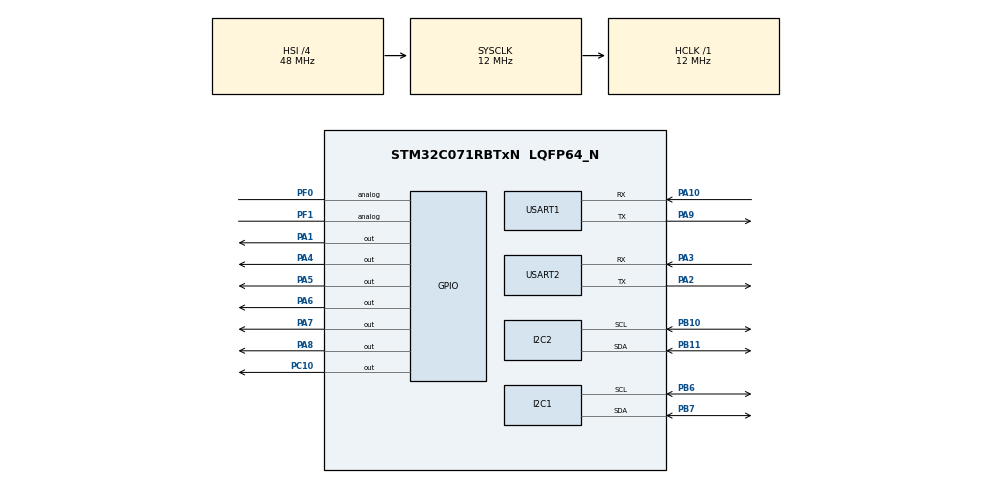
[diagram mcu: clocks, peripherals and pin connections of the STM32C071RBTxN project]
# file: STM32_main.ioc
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I2C1.Timing=0x00402D41
I2C2.Timing=0x00402D41
Mcu.Family=STM32C0
Mcu.Name=STM32C071RBTxN
Mcu.Package=LQFP64_N
NVIC.I2C2_IRQn=true\:0\:0\:false\:false\:true\:true\:true\:true
NVIC.USART1_IRQn=true\:0\:0\:false\:false\:true\:true\:true\:true
NVIC.USART2_IRQn=true\:0\:0\:false\:false\:true\:true\:true\:true
PA1.Signal=GPIO_Output
PA10.Mode=Asynchronous
PA10.Signal=USART1_RX
PA2.Mode=Asynchronous
PA2.Signal=USART2_TX
PA3.Mode=Asynchronous
PA3.Signal=USART2_RX
PA4.Signal=GPIO_Output
PA5.Signal=GPIO_Output
PA6.Signal=GPIO_Output
PA7.Signal=GPIO_Output
PA8.Signal=GPIO_Output
PA9.Mode=Asynchronous
PA9.Signal=USART1_TX
PB10.Mode=I2C
PB10.Signal=I2C2_SCL
PB11.Mode=I2C
PB11.Signal=I2C2_SDA
PB6.Mode=I2C
PB6.Signal=I2C1_SCL
PB7.Mode=I2C
PB7.Signal=I2C1_SDA
PC10.PinState=GPIO_PIN_SET
PC10.Signal=GPIO_Output
PF0-OSC_IN(PF0).Signal=GPIO_Analog
PF1-OSC_OUT(PF1).Signal=GPIO_Analog
ProjectManager.HeapSize=0x200
ProjectManager.StackSize=0x400
ProjectManager.TargetToolchain=STM32CubeIDE
RCC.ADCFreq_Value=12000000
RCC.AHBFreq_Value=12000000
RCC.CortexFreq_Value=12000000
RCC.EXTERNAL_CLOCK_VALUE=12288000
RCC.HCLKFreq_Value=12000000
RCC.HSE_VALUE=8000000
RCC.HSI48_VALUE=48000000
RCC.HSI_VALUE=48000000
RCC.LSE_VALUE=32768
RCC.SYSCLKFreq_VALUE=12000000
USART1.VirtualMode-Asynchronous=VM_ASYNC
USART2.VirtualMode-Asynchronous=VM_ASYNC
board=custom

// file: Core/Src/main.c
/* USER CODE BEGIN Header */
/**
  ******************************************************************************
  * @file           : main.c
  * @brief          : Main program body
  ******************************************************************************
  * @attention
  *
  * Copyright (c) 2026 STMicroelectronics.
  * All rights reserved.
  *
  * This software is licensed under terms that can be found in the LICENSE file
  * in the root directory of this software component.
  * If no LICENSE file comes with this software, it is provided AS-IS.
  *
  ******************************************************************************
  */
/* USER CODE END Header */
#include "main.h"

/* USER CODE BEGIN Includes */
#include "test_utils.h"
#include <string.h>
#include <stdio.h>
#include <stdlib.h>
#include <ctype.h>
#include <stdarg.h>
/* USER CODE END Includes */

I2C_HandleTypeDef hi2c1;
I2C_HandleTypeDef hi2c2;

UART_HandleTypeDef huart1;
UART_HandleTypeDef huart2;

/* USER CODE BEGIN PV */
static uint8_t rx_ch;
static char line_buf[LINE_BUF_SIZE];
static uint32_t line_len = 0;

static ParsedState g_state;
static volatile uint8_t g_run_connectivity_test = 0;

/* USER CODE END PV */

void SystemClock_Config(void);
static void MX_GPIO_Init(void);
static void MX_I2C1_Init(void);
static void MX_I2C2_Init(void);
static void MX_USART1_UART_Init(void);
static void MX_USART2_UART_Init(void);

/* USER CODE BEGIN 0 */
static void uart_print(const char *s)
{
  HAL_UART_Transmit(&huart1, (uint8_t*)s, (uint16_t)strlen(s), HAL_MAX_DELAY);
}

static void uart_printf(const char *fmt, ...)
{
  char out[256];
  va_list args;
  va_start(args, fmt);
  vsnprintf(out, sizeof(out), fmt, args);
  va_end(args);
  uart_print(out);
}

// Trim whitespace in-place (leading + trailing)
static void trim(char *s)
{
  // leading
  char *p = s;
  while (*p && isspace((unsigned char)*p)) p++;
  if (p != s) memmove(s, p, strlen(p) + 1);

  // trailing
  size_t n = strlen(s);
  while (n > 0 && isspace((unsigned char)s[n-1])) {
    s[n-1] = '\0';
    n--;
  }
}

static int parse_pin_list(const char *csv, uint8_t *arr, uint8_t *count_out)
{
  // csv like "1,2,3"
  char tmp[LINE_BUF_SIZE];
  strncpy(tmp, csv, sizeof(tmp)-1);
  tmp[sizeof(tmp)-1] = '\0';

  uint8_t count = 0;
  char *save = NULL;
  char *tok = strtok_r(tmp, ",", &save);

  while (tok)
  {
    trim(tok);
    if (*tok == '\0') return -2;

    char *endp = NULL;
    long v = strtol(tok, &endp, 10);
    if (endp == tok) return -2;          // not a number
    if (v < 1 || v > 20) return -3;      // out of allowed pin range
    if (count >= MAX_PINS) return -4;    // too many pins

    arr[count++] = (uint8_t)v;
    tok = strtok_r(NULL, ",", &save);
  }

  *count_out = count;
  return 0;
}

static int parse_vin_limits_mv(const char *csv, int32_t *low_mv, int32_t *high_mv)
{
  char tmp[LINE_BUF_SIZE];
  strncpy(tmp, csv, sizeof(tmp)-1);
  tmp[sizeof(tmp)-1] = '\0';

  char *save = NULL;
  char *a = strtok_r(tmp, ",", &save);
  char *b = strtok_r(NULL, ",", &save);
  if (!a || !b) return -2;

  trim(a); trim(b);
  if (*a == '\0' || *b == '\0') return -2;

  double lo = strtod(a, NULL);
  double hi = strtod(b, NULL);

  *low_mv  = (int32_t)(lo * 1000.0 + (lo >= 0 ? 0.5 : -0.5));
  *high_mv = (int32_t)(hi * 1000.0 + (hi >= 0 ? 0.5 : -0.5));
  return 0;
}

static int parse_prm(const char *csv,
                     uint8_t *vcc_pin_out,
                     uint8_t *gnd_pin_out,
                     int32_t *vcc_mv_out)
{
  // Expected format: "VCCpin,GNDpin,VCCvoltage"
  // Example: "14,7,3.30"
  char tmp[LINE_BUF_SIZE];
  strncpy(tmp, csv, sizeof(tmp)-1);
  tmp[sizeof(tmp)-1] = '\0';

  char *save = NULL;
  char *a = strtok_r(tmp, ",", &save);
  char *b = strtok_r(NULL, ",", &save);
  char *c = strtok_r(NULL, ",", &save);

  if (!a || !b || !c) return -2;

  trim(a); trim(b); trim(c);
  if (*a == '\0' || *b == '\0' || *c == '\0') return -2;

  char *endp1 = NULL;
  char *endp2 = NULL;
  long vcc = strtol(a, &endp1, 10);
  long gnd = strtol(b, &endp2, 10);
  if (endp1 == a || endp2 == b) return -2;

  // If you want PRM limited to DUT pins: use 1..20
  if (vcc < 1 || vcc > 20) return -3;
  if (gnd < 1 || gnd > 20) return -3;

  double v = strtod(c, NULL);
  int32_t mv = (int32_t)(v * 1000.0 + (v >= 0 ? 0.5 : -0.5));

  *vcc_pin_out = (uint8_t)vcc;
  *gnd_pin_out = (uint8_t)gnd;
  *vcc_mv_out  = mv;
  return 0;
}

static void normalize_vip_bin_lengths(ParsedState *st)
{
  size_t max_len = 0;

  if (st == NULL) return;

  // Find longest binary payload length (excluding "0b")
  for (uint8_t i = 0; i < st->n_vip; i++)
  {
    if (st->vip_kind[i] == VIP_KIND_BIN)
    {
      size_t len = strlen(st->vip_bin[i]);
      if (len >= 2) {
        len -= 2; // exclude "0b"
        if (len > max_len) {
          max_len = len;
        }
      }
    }
  }

  if (max_len == 0) {
    return;
  }

  // Right-pad shorter binary strings with '0'
  for (uint8_t i = 0; i < st->n_vip; i++)
  {
    if (st->vip_kind[i] == VIP_KIND_BIN)
    {
      char padded[VIP_BIN_MAX];
      const char *src = st->vip_bin[i] + 2;  // skip "0b"
      size_t cur_len = strlen(src);

      if (cur_len >= max_len) {
        continue;
      }

      size_t out_idx = 0;
      padded[out_idx++] = '0';
      padded[out_idx++] = 'b';

      for (size_t j = 0; j < cur_len; j++) {
        padded[out_idx++] = src[j];
      }

      while ((out_idx - 2) < max_len) {
        padded[out_idx++] = '0';
      }

      padded[out_idx] = '\0';

      strncpy(st->vip_bin[i], padded, VIP_BIN_MAX - 1);
      st->vip_bin[i][VIP_BIN_MAX - 1] = '\0';
    }
  }
}

// Parse one VIP token into kind + value(s)
static int parse_vip_token(const char *tok_in,
                           VipKind *kind_out,
                           int32_t *mv_out,
                           uint32_t *clk_mhz_out,
                           char bin_out[VIP_BIN_MAX])
{
  char tok[VIP_BIN_MAX];
  strncpy(tok, tok_in, sizeof(tok) - 1);
  tok[sizeof(tok) - 1] = '\0';
  trim(tok);

  if (*tok == '\0') return -2;

  // CLKxx (MHz)
  if (strncmp(tok, "CLK", 3) == 0)
  {
    const char *p = tok + 3;
    if (*p == '\0') return -2;

    for (const char *q = p; *q; q++) {
      if (!isdigit((unsigned char)*q)) return -2;
    }

    long mhz = strtol(p, NULL, 10);
    if (mhz <= 0 || mhz > 1000) return -3;

    *kind_out = VIP_KIND_CLK;
    *clk_mhz_out = (uint32_t)mhz;
    return 0;
  }

  // 0bxxxx (serial/binary string, now allowing 0,1,R,F)
  if (strncmp(tok, "0b", 2) == 0)
  {
    const char *p = tok + 2;
    if (*p == '\0') return -2;

    size_t n = strlen(p);
    if (n > 32) return -4;

    for (const char *q = p; *q; q++) {
      if (*q != '0' && *q != '1' && *q != 'R' && *q != 'F') {
        return -2;
      }
    }

    *kind_out = VIP_KIND_BIN;
    strncpy(bin_out, tok, VIP_BIN_MAX - 1);
    bin_out[VIP_BIN_MAX - 1] = '\0';
    return 0;
  }

  // Otherwise treat as a voltage (volts -> mV)
  double v = strtod(tok, NULL);
  int32_t mv = (int32_t)(v * 1000.0 + (v >= 0 ? 0.5 : -0.5));

  *kind_out = VIP_KIND_VOLT;
  *mv_out = mv;
  return 0;
}

// VIP list: token,token,token... (each token can be VOLT, CLKxx, or 0bxxxx)
static int parse_vip_list(const char *csv,
                          VipKind *kinds,
                          int32_t *mv_arr,
                          uint32_t *clk_arr,
                          char bin_arr[MAX_PINS][VIP_BIN_MAX],
                          uint8_t *count_out)
{
  char tmp[LINE_BUF_SIZE];
  strncpy(tmp, csv, sizeof(tmp)-1);
  tmp[sizeof(tmp)-1] = '\0';

  uint8_t count = 0;
  char *save = NULL;
  char *tok = strtok_r(tmp, ",", &save);

  while (tok)
  {
    if (count >= MAX_PINS) return -4;
    trim(tok);
    if (*tok == '\0') return -2;

    kinds[count] = VIP_KIND_NONE;
    mv_arr[count] = 0;
    clk_arr[count] = 0;
    bin_arr[count][0] = '\0';

    int rc = parse_vip_token(tok,
                             &kinds[count],
                             &mv_arr[count],
                             &clk_arr[count],
                             bin_arr[count]);
    if (rc != 0) return rc;

    count++;
    tok = strtok_r(NULL, ",", &save);
  }

  *count_out = count;
  return 0;
}

static void send_u8_array(const char *name, const uint8_t *arr, uint8_t n)
{
  uart_printf("%s:", name);
  for (uint8_t i = 0; i < n; i++) {
    uart_printf("%u%s", arr[i], (i + 1 < n) ? "," : "");
  }
  uart_print("\r\n");
}

// Echo VIP back in a normalized format:
// - voltages as millivolts integers
// - clocks as CLK<MHz>
// - binaries as 0b...
static void send_vip_array(const ParsedState *st)
{
  uart_printf("VIP:");
  for (uint8_t i = 0; i < st->n_vip; i++)
  {
    if (st->vip_kind[i] == VIP_KIND_VOLT) {
      uart_printf("%ld", (long)st->vip_mv[i]);
    } else if (st->vip_kind[i] == VIP_KIND_CLK) {
      uart_printf("CLK%lu", (unsigned long)st->vip_clk_mhz[i]);
    } else if (st->vip_kind[i] == VIP_KIND_BIN) {
      uart_printf("%s", st->vip_bin[i]);
    } else {
      uart_printf("?");
    }

    if (i + 1 < st->n_vip) uart_print(",");
  }
  uart_print("\r\n");
}

static void handle_command_line(char *line)
{
  trim(line);
  if (*line == '\0') return;

  // TEST has no ":" parameters
  if (strcmp(line, "TEST") == 0)
  {
    uart_print("OK TEST\r\n");
    g_run_connectivity_test = 1;
    return;
  }

  // All other commands are CMD:params
  char *colon = strchr(line, ':');
  if (!colon) {
    uart_print("ERR no_colon\r\n");
    return;
  }

  *colon = '\0';
  char *cmd = line;
  char *params = colon + 1;
  trim(cmd);
  trim(params);

  if (strcmp(cmd, "INS") == 0)
  {
    int rc = parse_pin_list(params, g_state.ins, &g_state.n_ins);
    if (rc == 0) {
      uart_printf("OK INS n=%u\r\n", g_state.n_ins);
     // send_u8_array("INS", g_state.ins, g_state.n_ins);
    } else {
      uart_printf("ERR INS rc=%d\r\n", rc);
    }
    return;
  }

  if (strcmp(cmd, "OUT") == 0)
  {
    int rc = parse_pin_list(params, g_state.outs, &g_state.n_outs);
    if (rc == 0) {
      uart_printf("OK OUT n=%u\r\n", g_state.n_outs);
      //send_u8_array("OUT", g_state.outs, g_state.n_outs);
    } else {
      uart_printf("ERR OUT rc=%d\r\n", rc);
    }
    return;
  }

  if (strcmp(cmd, "VIN") == 0)
  {
    int32_t lo_mv = 0, hi_mv = 0;
    int rc = parse_vin_limits_mv(params, &lo_mv, &hi_mv);
    if (rc == 0) {
      g_state.vin_low_mv  = lo_mv;
      g_state.vin_high_mv = hi_mv;
      g_state.vin_set     = 1;

      uart_print("OK VIN\r\n");
      //uart_printf("VIN:%ld,%ld\r\n", (long)g_state.vin_low_mv, (long)g_state.vin_high_mv);
    } else {
      uart_printf("ERR VIN rc=%d\r\n", rc);
    }
    return;
  }

  if (strcmp(cmd, "PRM") == 0)
  {
    uint8_t vcc = 0, gnd = 0;
    int32_t vcc_mv = 0;

    int rc = parse_prm(params, &vcc, &gnd, &vcc_mv);
    if (rc == 0) {
      g_state.vcc_pin = vcc;
      g_state.gnd_pin = gnd;
      g_state.vcc_mv  = vcc_mv;
      g_state.prm_set = 1;

      uart_print("OK PRM\r\n");
      //uart_printf("PRM:%u,%u,%ld\r\n", g_state.vcc_pin, g_state.gnd_pin, (long)g_state.vcc_mv);
    } else {
      uart_printf("ERR PRM rc=%d\r\n", rc);
    }
    return;
  }

  if (strcmp(cmd, "VIP") == 0)
  {
    int rc = parse_vip_list(params,
                            g_state.vip_kind,
                            g_state.vip_mv,
                            g_state.vip_clk_mhz,
                            g_state.vip_bin,
                            &g_state.n_vip);
    if (rc == 0) {
      uart_printf("OK VIP n=%u\r\n", g_state.n_vip);
      normalize_vip_bin_lengths(&g_state);
      //send_vip_array(&g_state);
    } else {
      uart_printf("ERR VIP rc=%d\r\n", rc);
    }
    return;
  }

  uart_print("ERR unknown_cmd\r\n");
}
/* USER CODE END 0 */

int main(void)
{

  /* MCU Configuration--------------------------------------------------------*/

  /* Reset of all peripherals, Initializes the Flash interface and the Systick. */
  HAL_Init();

  /* Configure the system clock */
  SystemClock_Config();

  /* Initialize all configured peripherals */
  MX_GPIO_Init();
  MX_I2C1_Init();
  MX_I2C2_Init();
  MX_USART1_UART_Init();
  MX_USART2_UART_Init();
  /* USER CODE BEGIN 2 */
  memset(&g_state, 0, sizeof(g_state));
  uart_print("READY\r\n");

  // Start 1-byte interrupt receive
  HAL_UART_Receive_IT(&huart1, &rx_ch, 1);
  /* USER CODE END 2 */

  /* Infinite loop */
  /* USER CODE BEGIN WHILE */
  while (1)
  {
	  if (g_run_connectivity_test)
	      {
	          g_run_connectivity_test = 0;
	          Test(&g_state);
	      }

    /* USER CODE END WHILE */

  }
}

void SystemClock_Config(void)
{
  RCC_OscInitTypeDef RCC_OscInitStruct = {0};
  RCC_ClkInitTypeDef RCC_ClkInitStruct = {0};

  __HAL_FLASH_SET_LATENCY(FLASH_LATENCY_0);

  /** Initializes the RCC Oscillators according to the specified parameters
  * in the RCC_OscInitTypeDef structure.
  */
  RCC_OscInitStruct.OscillatorType = RCC_OSCILLATORTYPE_HSI;
  RCC_OscInitStruct.HSIState = RCC_HSI_ON;
  RCC_OscInitStruct.HSIDiv = RCC_HSI_DIV4;
  RCC_OscInitStruct.HSICalibrationValue = RCC_HSICALIBRATION_DEFAULT;
  if (HAL_RCC_OscConfig(&RCC_OscInitStruct) != HAL_OK)
  {
    Error_Handler();
  }

  /** Initializes the CPU, AHB and APB buses clocks
  */
  RCC_ClkInitStruct.ClockType = RCC_CLOCKTYPE_HCLK|RCC_CLOCKTYPE_SYSCLK
                              |RCC_CLOCKTYPE_PCLK1;
  RCC_ClkInitStruct.SYSCLKSource = RCC_SYSCLKSOURCE_HSI;
  RCC_ClkInitStruct.SYSCLKDivider = RCC_SYSCLK_DIV1;
  RCC_ClkInitStruct.AHBCLKDivider = RCC_HCLK_DIV1;
  RCC_ClkInitStruct.APB1CLKDivider = RCC_APB1_DIV1;

  if (HAL_RCC_ClockConfig(&RCC_ClkInitStruct, FLASH_LATENCY_0) != HAL_OK)
  {
    Error_Handler();
  }
}

static void MX_I2C1_Init(void)
{

  hi2c1.Instance = I2C1;
  hi2c1.Init.Timing = 0x00402D41;
  hi2c1.Init.OwnAddress1 = 0;
  hi2c1.Init.AddressingMode = I2C_ADDRESSINGMODE_7BIT;
  hi2c1.Init.DualAddressMode = I2C_DUALADDRESS_DISABLE;
  hi2c1.Init.OwnAddress2 = 0;
  hi2c1.Init.OwnAddress2Masks = I2C_OA2_NOMASK;
  hi2c1.Init.GeneralCallMode = I2C_GENERALCALL_DISABLE;
  hi2c1.Init.NoStretchMode = I2C_NOSTRETCH_DISABLE;
  if (HAL_I2C_Init(&hi2c1) != HAL_OK)
  {
    Error_Handler();
  }

  /** Configure Analogue filter
  */
  if (HAL_I2CEx_ConfigAnalogFilter(&hi2c1, I2C_ANALOGFILTER_ENABLE) != HAL_OK)
  {
    Error_Handler();
  }

  /** Configure Digital filter
  */
  if (HAL_I2CEx_ConfigDigitalFilter(&hi2c1, 0) != HAL_OK)
  {
    Error_Handler();
  }

}

static void MX_I2C2_Init(void)
{

  hi2c2.Instance = I2C2;
  hi2c2.Init.Timing = 0x00402D41;
  hi2c2.Init.OwnAddress1 = 0;
  hi2c2.Init.AddressingMode = I2C_ADDRESSINGMODE_7BIT;
  hi2c2.Init.DualAddressMode = I2C_DUALADDRESS_DISABLE;
  hi2c2.Init.OwnAddress2 = 0;
  hi2c2.Init.OwnAddress2Masks = I2C_OA2_NOMASK;
  hi2c2.Init.GeneralCallMode = I2C_GENERALCALL_DISABLE;
  hi2c2.Init.NoStretchMode = I2C_NOSTRETCH_DISABLE;
  if (HAL_I2C_Init(&hi2c2) != HAL_OK)
  {
    Error_Handler();
  }

  /** Configure Analogue filter
  */
  if (HAL_I2CEx_ConfigAnalogFilter(&hi2c2, I2C_ANALOGFILTER_ENABLE) != HAL_OK)
  {
    Error_Handler();
  }

  /** Configure Digital filter
  */
  if (HAL_I2CEx_ConfigDigitalFilter(&hi2c2, 0) != HAL_OK)
  {
    Error_Handler();
  }

}

static void MX_USART1_UART_Init(void)
{

  huart1.Instance = USART1;
  huart1.Init.BaudRate = 115200;
  huart1.Init.WordLength = UART_WORDLENGTH_8B;
  huart1.Init.StopBits = UART_STOPBITS_1;
  huart1.Init.Parity = UART_PARITY_NONE;
  huart1.Init.Mode = UART_MODE_TX_RX;
  huart1.Init.HwFlowCtl = UART_HWCONTROL_NONE;
  huart1.Init.OverSampling = UART_OVERSAMPLING_16;
  huart1.Init.OneBitSampling = UART_ONE_BIT_SAMPLE_DISABLE;
  huart1.Init.ClockPrescaler = UART_PRESCALER_DIV1;
  huart1.AdvancedInit.AdvFeatureInit = UART_ADVFEATURE_NO_INIT;
  if (HAL_UART_Init(&huart1) != HAL_OK)
  {
    Error_Handler();
  }
  if (HAL_UARTEx_SetTxFifoThreshold(&huart1, UART_TXFIFO_THRESHOLD_1_8) != HAL_OK)
  {
    Error_Handler();
  }
  if (HAL_UARTEx_SetRxFifoThreshold(&huart1, UART_RXFIFO_THRESHOLD_1_8) != HAL_OK)
  {
    Error_Handler();
  }
  if (HAL_UARTEx_DisableFifoMode(&huart1) != HAL_OK)
  {
    Error_Handler();
  }

}

static void MX_USART2_UART_Init(void)
{

  huart2.Instance = USART2;
  huart2.Init.BaudRate = 115200;
  huart2.Init.WordLength = UART_WORDLENGTH_8B;
  huart2.Init.StopBits = UART_STOPBITS_1;
  huart2.Init.Parity = UART_PARITY_NONE;
  huart2.Init.Mode = UART_MODE_TX_RX;
  huart2.Init.HwFlowCtl = UART_HWCONTROL_NONE;
  huart2.Init.OverSampling = UART_OVERSAMPLING_16;
  huart2.Init.OneBitSampling = UART_ONE_BIT_SAMPLE_DISABLE;
  huart2.Init.ClockPrescaler = UART_PRESCALER_DIV1;
  huart2.AdvancedInit.AdvFeatureInit = UART_ADVFEATURE_NO_INIT;
  if (HAL_UART_Init(&huart2) != HAL_OK)
  {
    Error_Handler();
  }

}

static void MX_GPIO_Init(void)
{
  GPIO_InitTypeDef GPIO_InitStruct = {0};

  /* GPIO Ports Clock Enable */
  __HAL_RCC_GPIOF_CLK_ENABLE();
  __HAL_RCC_GPIOA_CLK_ENABLE();
  __HAL_RCC_GPIOB_CLK_ENABLE();
  __HAL_RCC_GPIOC_CLK_ENABLE();

  /*Configure GPIO pin Output Level */
  HAL_GPIO_WritePin(GPIOA, GPIO_PIN_1|GPIO_PIN_4|GPIO_PIN_5|GPIO_PIN_6
                          |GPIO_PIN_7|GPIO_PIN_8, GPIO_PIN_RESET);

  /*Configure GPIO pin Output Level */
  HAL_GPIO_WritePin(GPIOC, GPIO_PIN_10, GPIO_PIN_SET);

  /*Configure GPIO pins : PF0 PF1 */
  GPIO_InitStruct.Pin = GPIO_PIN_0|GPIO_PIN_1;
  GPIO_InitStruct.Mode = GPIO_MODE_ANALOG;
  GPIO_InitStruct.Pull = GPIO_NOPULL;
  HAL_GPIO_Init(GPIOF, &GPIO_InitStruct);

  /*Configure GPIO pins : PA1 PA4 PA5 PA6
                           PA7 PA8 */
  GPIO_InitStruct.Pin = GPIO_PIN_1|GPIO_PIN_4|GPIO_PIN_5|GPIO_PIN_6
                          |GPIO_PIN_7|GPIO_PIN_8;
  GPIO_InitStruct.Mode = GPIO_MODE_OUTPUT_PP;
  GPIO_InitStruct.Pull = GPIO_NOPULL;
  GPIO_InitStruct.Speed = GPIO_SPEED_FREQ_LOW;
  HAL_GPIO_Init(GPIOA, &GPIO_InitStruct);

  /*Configure GPIO pin : PC10 */
  GPIO_InitStruct.Pin = GPIO_PIN_10;
  GPIO_InitStruct.Mode = GPIO_MODE_OUTPUT_PP;
  GPIO_InitStruct.Pull = GPIO_NOPULL;
  GPIO_InitStruct.Speed = GPIO_SPEED_FREQ_LOW;
  HAL_GPIO_Init(GPIOC, &GPIO_InitStruct);

}

/* USER CODE BEGIN 4 */
void HAL_UART_RxCpltCallback(UART_HandleTypeDef *huart)
{
  if (huart->Instance == USART1)
  {
    char c = (char)rx_ch;

    if (c == '\r') {
      // ignore CR
    }
    else if (c == '\n')
    {
      line_buf[line_len] = '\0';

      // Work on a copy because handle_command_line modifies the string
      char work[LINE_BUF_SIZE];
      strncpy(work, line_buf, sizeof(work)-1);
      work[sizeof(work)-1] = '\0';

      handle_command_line(work);
      line_len = 0;
    }
    else
    {
      if (line_len < (LINE_BUF_SIZE - 1)) {
        line_buf[line_len++] = c;
      } else {
        line_len = 0;
        uart_print("ERR line_overflow\r\n");
      }
    }

    // Re-arm the interrupt for next byte
    HAL_UART_Receive_IT(&huart1, &rx_ch, 1);
  }
}
/* USER CODE END 4 */

void Error_Handler(void)
{
  __disable_irq();
  while (1)
  {
  }
}
